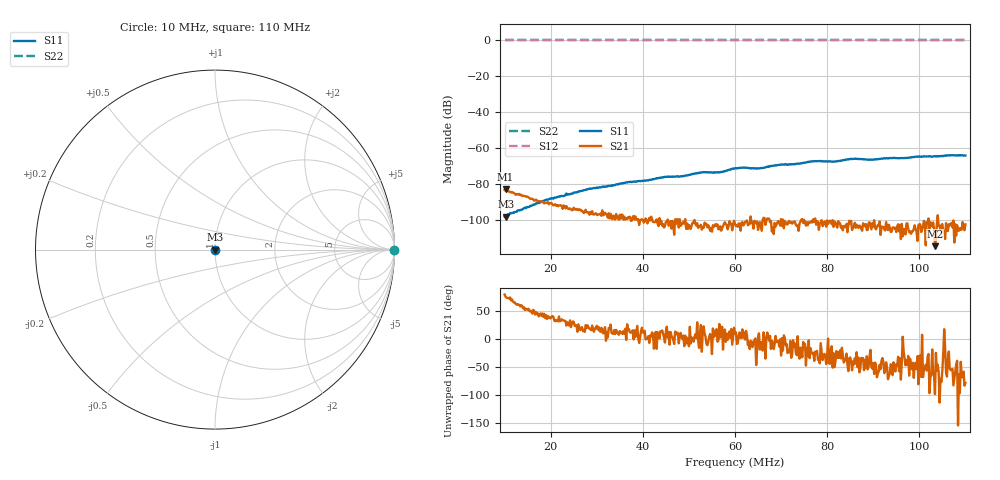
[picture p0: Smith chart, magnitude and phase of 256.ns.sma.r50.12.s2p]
! Anritsu VNA Master:  Model: MS2036C/10/77
! SN:  1601066
! /card0/usr/256.ns.sma.r50.12.s2p
! Existing Calibration Information:
! TYPE:  Current Settings,  Active Cal Settings
! TIME:  12/19/2017 03:42:47 PM,  12/19/2017 03:30:41 PM
! INTERNAL TEMP:  47.5 C,  48.0 C
! # POINTS:  501,  501
! START FREQ:  10.000 MHz,  10.000 MHz
! STOP FREQ:  110.000 MHz,  110.000 MHz
! SOURCE POWER:  High,  High
! IFBW:  100 Hz,  100 Hz
! AVG FACTOR:  1 ,  1
! REF PLANE 1:  0 mm,  0 mm
! REF PLANE 2:  0 mm,  0 mm
! CAL TYPE:  Full S11,  Full S11
! CAL METHOD:  SOLT,  SOLT
! CAL LINE TYPE:  Coax,  Coax
! DUT PORT 1:  N-Conn(F),  N-Conn(F)
! DUT PORT 2:  K-Conn(F),  K-Conn(F)
! CAL STATUS:  OK: Accuracy High,  --
# GHZ S DB R 50.0
! FREQ.GHZ  S11DB  S11A  S21DB  S21A  S12DB  S12A  S22DB  S22A
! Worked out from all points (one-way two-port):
!   501 points, 10 MHz to 110 MHz, reference 50 ohm
!   highest |S21| = -83.08 dB at 10.2 MHz (marker M1); lowest = -114.8 dB at 103.4 MHz (marker M2)
!   lowest |S11| = -98.3 dB at 10.4 MHz (marker M3), VSWR 1.00, Z = 50 - j0.000343 ohm
!   |S11| at or under -10 dB: start of sweep to end of sweep
!   |S22| runs from 0.0 to 0.0 dB; largest |S21 - S12| = 1
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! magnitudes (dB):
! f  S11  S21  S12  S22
! 10 MHz  -98.3  -83.4  0.0  0.0
! 10.2 MHz  -98.0  -83.1  0.0  0.0
! 10.4 MHz  -98.3  -83.8  0.0  0.0
! 26.8 MHz  -83.9  -95.3  0.0  0.0
! 34.8 MHz  -80.1  -100.0  0.0  0.0
! 40.8 MHz  -78.0  -100.4  0.0  0.0
! 43.4 MHz  -76.8  -103.5  0.0  0.0
! 48.6 MHz  -75.7  -102.5  0.0  0.0
! 52.8 MHz  -73.7  -105.6  0.0  0.0
! 57 MHz  -73.3  -106.1  0.0  0.0
! 60 MHz  -71.3  -102.3  0.0  0.0
! 61.8 MHz  -70.9  -103.2  0.0  0.0
! 65.6 MHz  -71.2  -103.7  0.0  0.0
! 69.6 MHz  -69.4  -101.6  0.0  0.0
! 73 MHz  -68.8  -101.0  0.0  0.0
! 76.8 MHz  -67.4  -101.5  0.0  0.0
! 81.6 MHz  -67.6  -101.0  0.0  0.0
! 85.4 MHz  -66.1  -105.7  0.0  0.0
! 89.6 MHz  -66.5  -105.3  0.0  0.0
! 93.4 MHz  -65.7  -102.8  0.0  0.0
! 103.4 MHz  -64.5  -114.8  0.0  0.0
! 110 MHz  -64.2  -102.6  0.0  0.0
